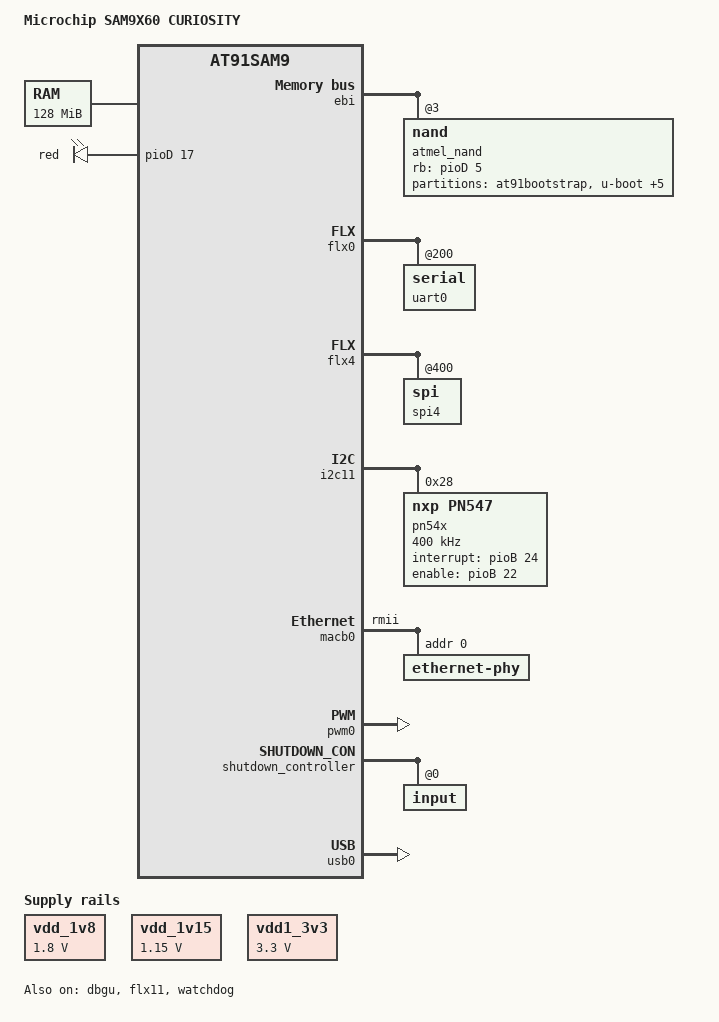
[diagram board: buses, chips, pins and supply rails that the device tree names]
// SPDX-License-Identifier: (GPL-2.0+ OR MIT)
/*
 * at91-sam9x60_curiosity.dts - Device Tree file for Microchip SAM9X60 CURIOSITY board
 *
 * Copyright (C) 2022 Microchip Technology Inc. and its subsidiaries
 *
 * Author: Manikandan M <manikandan.m@microchip.com>
 */
/dts-v1/;
#include "sam9x60.dtsi"
#include <dt-bindings/input/input.h>

/ {
	model = "Microchip SAM9X60 CURIOSITY";
	compatible = "microchip,sam9x60-curiosity", "microchip,sam9x60", "atmel,at91sam9";

	aliases {
		spi4 = &spi4;
		serial1 = &uart0;
	};

	chosen {
		stdout-path = "serial0:115200n8";
	};

	memory@20000000 {
		reg = <0x20000000 0x8000000>;
	};

	clocks {
		slow_xtal {
			clock-frequency = <32768>;
		};
		main_xtal {
			clock-frequency = <24000000>;
		};
	};

	leds {
		compatible = "gpio-leds";
		pinctrl-names = "default";
		pinctrl-0 = <&pinctrl_gpio_leds>;
		status = "okay";

		red {
			label = "red";
			gpios = <&pioD 17 GPIO_ACTIVE_HIGH>;
		};
	};

	regulators: regulators {
		compatible = "simple-bus";
		#address-cells = <1>;
		#size-cells = <0>;

		vdd_1v8: fixed-regulator-vdd_1v8@0 {
			compatible = "regulator-fixed";
			regulator-name = "VDD_1V8";
			regulator-min-microvolt = <1800000>;
			regulator-max-microvolt = <1800000>;
			regulator-always-on;
			status = "okay";
		};

		vdd_1v15: fixed-regulator-vdd_1v15@1 {
			compatible = "regulator-fixed";
			regulator-name = "VDD_1V15";
			regulator-min-microvolt = <1150000>;
			regulator-max-microvolt = <1150000>;
			regulator-always-on;
			status = "okay";
		};

		vdd1_3v3: fixed-regulator-vdd1_3v3@2 {
			compatible = "regulator-fixed";
			regulator-name = "VDD1_3V3";
			regulator-min-microvolt = <3300000>;
			regulator-max-microvolt = <3300000>;
			regulator-always-on;
			status = "okay";
		};
	};
};


&dbgu {
	pinctrl-names = "default";
	pinctrl-0 = <&pinctrl_dbgu>;
	status = "okay"; /* Conflict with can0. */
};

&ebi {
	pinctrl-names = "default";
	pinctrl-0 = <&pinctrl_ebi_addr_nand &pinctrl_ebi_data_0_7>;
	status = "okay";

	nand_controller: nand-controller {
		pinctrl-names = "default";
		pinctrl-0 = <&pinctrl_nand_oe_we &pinctrl_nand_cs &pinctrl_nand_rb>;
		status = "okay";

		nand@3 {
			reg = <0x3 0x0 0x800000>;
			rb-gpios = <&pioD 5 GPIO_ACTIVE_HIGH>;
			cs-gpios = <&pioD 4 GPIO_ACTIVE_HIGH>;
			nand-bus-width = <8>;
			nand-ecc-mode = "hw";
			nand-ecc-strength = <8>;
			nand-ecc-step-size = <512>;
			nand-on-flash-bbt;
			label = "atmel_nand";

			partitions {
				compatible = "fixed-partitions";
				#address-cells = <1>;
				#size-cells = <1>;

				at91bootstrap@0 {
					label = "at91bootstrap";
					reg = <0x0 0x40000>;
				};

				uboot@40000 {
					label = "u-boot";
					reg = <0x40000 0xc0000>;
				};

				ubootenvred@100000 {
					label = "U-Boot Env Redundant";
					reg = <0x100000 0x40000>;
				};

				ubootenv@140000 {
					label = "U-Boot Env";
					reg = <0x140000 0x40000>;
				};

				dtb@180000 {
					label = "device tree";
					reg = <0x180000 0x80000>;
				};

				kernel@200000 {
					label = "kernel";
					reg = <0x200000 0x600000>;
				};

				rootfs@800000 {
					label = "rootfs";
					reg = <0x800000 0x1f800000>;
				};
			};
		};
	};
};


&flx0 {
	atmel,flexcom-mode = <ATMEL_FLEXCOM_MODE_USART>;
	status = "okay";
	
	uart0: serial@200 {
		pinctrl-names = "default";
		pinctrl-0 = <&pinctrl_flx0_default>;
		status = "okay";
	};
};

&flx4 {
	atmel,flexcom-mode = <ATMEL_FLEXCOM_MODE_SPI>;
	status = "okay";

	spi4: spi@400 {
		#address-cells = <1>;
		#size-cells = <0>;
		dmas = <0>, <0>;
		pinctrl-names = "default";
		pinctrl-0 = <&pinctrl_flx4_default>;
		status = "okay";
		qca7000: ethernet@0 {
			compatible = "qca,qca7000";
			reg = <0x0>;
			interrupt-parent = <&pioB>;      /* GPIO Bank 1 */
			interrupts = <18 0x1>;            /* Index: 18, rising edge */
			spi-cpha;                         /* SPI mode: CPHA=1 */
			spi-cpol;                         /* SPI mode: CPOL=1 */
			spi-max-frequency = <8000000>;    /* freq: 8 MHz */
			local-mac-address = [ A0 B0 C0 D0 E0 F0 ];
			status = "okay";
			};

	};
};

&flx11 {
	atmel,flexcom-mode = <ATMEL_FLEXCOM_MODE_TWI>;
	status = "okay";

	i2c11: i2c@600 {
		#address-cells = <1>;
		#size-cells = <0>;
		dmas = <0>, <0>;
		pinctrl-names = "default";
		pinctrl-0 = <&pinctrl_flx11_default>;
		i2c-analog-filter;
		i2c-digital-filter;
		i2c-digital-filter-width-ns = <35>;
		status = "okay";

		pn54x: pn54x@28 {
			status="okay";
			compatible ="nxp,pn547";
			clock-frequency = <400000>;
			reg = <0x28>;
			interrupt-gpios = <&pioB 24 GPIO_ACTIVE_HIGH>;
			enable-gpios = <&pioB 22 GPIO_ACTIVE_HIGH>;
		};
	};
};

&macb0 {
	phy-mode = "rmii";
	#address-cells = <1>;
	#size-cells = <0>;
	pinctrl-names = "default";
	pinctrl-0 = <&pinctrl_macb0_rmii>;
	status = "okay";

	ethernet-phy@0 {
		reg = <0x0>;
	};
};

&pinctrl {

	dbgu {
		pinctrl_dbgu: dbgu-0 {
			atmel,pins = <AT91_PIOA 9 AT91_PERIPH_A AT91_PINCTRL_PULL_UP
					  AT91_PIOA 10 AT91_PERIPH_A AT91_PINCTRL_NONE>;
		};
	};

	ebi {
		pinctrl_ebi_data_0_7: ebi-data-lsb-0 {
			atmel,pins =
				<AT91_PIOD 6 AT91_PERIPH_A (AT91_PINCTRL_NONE | AT91_PINCTRL_SLEWRATE_DIS)
				 AT91_PIOD 7 AT91_PERIPH_A (AT91_PINCTRL_NONE | AT91_PINCTRL_SLEWRATE_DIS)
				 AT91_PIOD 8 AT91_PERIPH_A (AT91_PINCTRL_NONE | AT91_PINCTRL_SLEWRATE_DIS)
				 AT91_PIOD 9 AT91_PERIPH_A (AT91_PINCTRL_NONE | AT91_PINCTRL_SLEWRATE_DIS)
				 AT91_PIOD 10 AT91_PERIPH_A (AT91_PINCTRL_NONE | AT91_PINCTRL_SLEWRATE_DIS)
				 AT91_PIOD 11 AT91_PERIPH_A (AT91_PINCTRL_NONE | AT91_PINCTRL_SLEWRATE_DIS)
				 AT91_PIOD 12 AT91_PERIPH_A (AT91_PINCTRL_NONE | AT91_PINCTRL_SLEWRATE_DIS)
				 AT91_PIOD 13 AT91_PERIPH_A (AT91_PINCTRL_NONE | AT91_PINCTRL_SLEWRATE_DIS)>;
		};

		pinctrl_ebi_addr_nand: ebi-addr-0 {
			atmel,pins =
				<AT91_PIOD 2 AT91_PERIPH_A (AT91_PINCTRL_NONE | AT91_PINCTRL_SLEWRATE_DIS)
				 AT91_PIOD 3 AT91_PERIPH_A (AT91_PINCTRL_NONE | AT91_PINCTRL_SLEWRATE_DIS)>;
		};
	};

	flexcom {
		
		pinctrl_flx0_default: flx0_uart0 {
			atmel,pins =
				<AT91_PIOA 0 AT91_PERIPH_A AT91_PINCTRL_NONE
				 AT91_PIOA 1 AT91_PERIPH_A AT91_PINCTRL_NONE>;
		};

		pinctrl_flx4_default: flx4_spi {
			atmel,pins =
				<AT91_PIOA 11 AT91_PERIPH_A AT91_PINCTRL_NONE
				 AT91_PIOA 12 AT91_PERIPH_A AT91_PINCTRL_NONE
				 AT91_PIOA 13 AT91_PERIPH_A AT91_PINCTRL_NONE
				 AT91_PIOA 14 AT91_PERIPH_A AT91_PINCTRL_NONE>;
		};

		pinctrl_flx11_default: flx11_twi {
			atmel,pins =
				<AT91_PIOB 19 AT91_PERIPH_A AT91_PINCTRL_PULL_UP
				 AT91_PIOB 20 AT91_PERIPH_A AT91_PINCTRL_PULL_UP>;



		};
	};

	gpio_keys {
		pinctrl_key_gpio_default: pinctrl_key_gpio {
			atmel,pins = <AT91_PIOA 29 AT91_PERIPH_GPIO AT91_PINCTRL_NONE>;
		};
	};

	leds {
		pinctrl_gpio_leds: gpio_leds {
			atmel,pins = <AT91_PIOD 17 AT91_PERIPH_GPIO AT91_PINCTRL_NONE>;
		};
	};

	macb0 {
		pinctrl_macb0_rmii: macb0_rmii-0 {
			atmel,pins =
				<AT91_PIOB 0 AT91_PERIPH_A AT91_PINCTRL_NONE	/* PB0 periph A */
				 AT91_PIOB 1 AT91_PERIPH_A AT91_PINCTRL_NONE	/* PB1 periph A */
				 AT91_PIOB 2 AT91_PERIPH_A AT91_PINCTRL_NONE	/* PB2 periph A */
				 AT91_PIOB 3 AT91_PERIPH_A AT91_PINCTRL_NONE	/* PB3 periph A */
				 AT91_PIOB 4 AT91_PERIPH_A AT91_PINCTRL_NONE	/* PB4 periph A */
				 AT91_PIOB 5 AT91_PERIPH_A AT91_PINCTRL_NONE	/* PB5 periph A */
				 AT91_PIOB 6 AT91_PERIPH_A AT91_PINCTRL_NONE	/* PB6 periph A */
				 AT91_PIOB 7 AT91_PERIPH_A AT91_PINCTRL_NONE	/* PB7 periph A */
				 AT91_PIOB 9 AT91_PERIPH_A AT91_PINCTRL_NONE	/* PB9 periph A */
				 AT91_PIOB 10 AT91_PERIPH_A AT91_PINCTRL_NONE>;	/* PB10 periph A */
		};
	};

	nand {
		pinctrl_nand_oe_we: nand-oe-we-0 {
			atmel,pins =
				<AT91_PIOD 0 AT91_PERIPH_A (AT91_PINCTRL_NONE | AT91_PINCTRL_SLEWRATE_DIS)
				 AT91_PIOD 1 AT91_PERIPH_A (AT91_PINCTRL_NONE | AT91_PINCTRL_SLEWRATE_DIS)>;
		};

		pinctrl_nand_rb: nand-rb-0 {
			atmel,pins =
				<AT91_PIOD 5 AT91_PERIPH_GPIO AT91_PINCTRL_PULL_UP>;
		};

		pinctrl_nand_cs: nand-cs-0 {
			atmel,pins =
				<AT91_PIOD 4 AT91_PERIPH_GPIO AT91_PINCTRL_PULL_UP>;
		};
	};

	pwm0 {
		pinctrl_pwm0_0: pwm0_0 {
			atmel,pins = <AT91_PIOB 12 AT91_PERIPH_B AT91_PINCTRL_NONE>;
		};

		pinctrl_pwm0_1: pwm0_1 {
			atmel,pins = <AT91_PIOB 13 AT91_PERIPH_B AT91_PINCTRL_NONE>;
		};
	};


	usb0 {
		pinctrl_usba_vbus: usba_vbus {
			atmel,pins = <AT91_PIOA 27 AT91_PERIPH_GPIO AT91_PINCTRL_NONE>;
		};
	};


}; /* pinctrl */

&pwm0 {
	pinctrl-names = "default";
	pinctrl-0 = <&pinctrl_pwm0_0 &pinctrl_pwm0_1>;
	status = "okay";
};

&rtt {
	atmel,rtt-rtc-time-reg = <&gpbr 0x0>;
};

&shutdown_controller {
	debounce-delay-us = <976>;
	status = "okay";

	input@0 {
		reg = <0>;
	};
};

&tcb0 {
	timer0: timer@0 {
		compatible = "atmel,tcb-timer";
		reg = <0>;
	};

	timer1: timer@1 {
		compatible = "atmel,tcb-timer";
		reg = <1>;
	};
};

&usb0 {
	atmel,vbus-gpio = <&pioA 27 GPIO_ACTIVE_HIGH>;
	pinctrl-names = "default";
	pinctrl-0 = <&pinctrl_usba_vbus>;
	status = "okay";
};

&watchdog {
	status = "okay";
};
